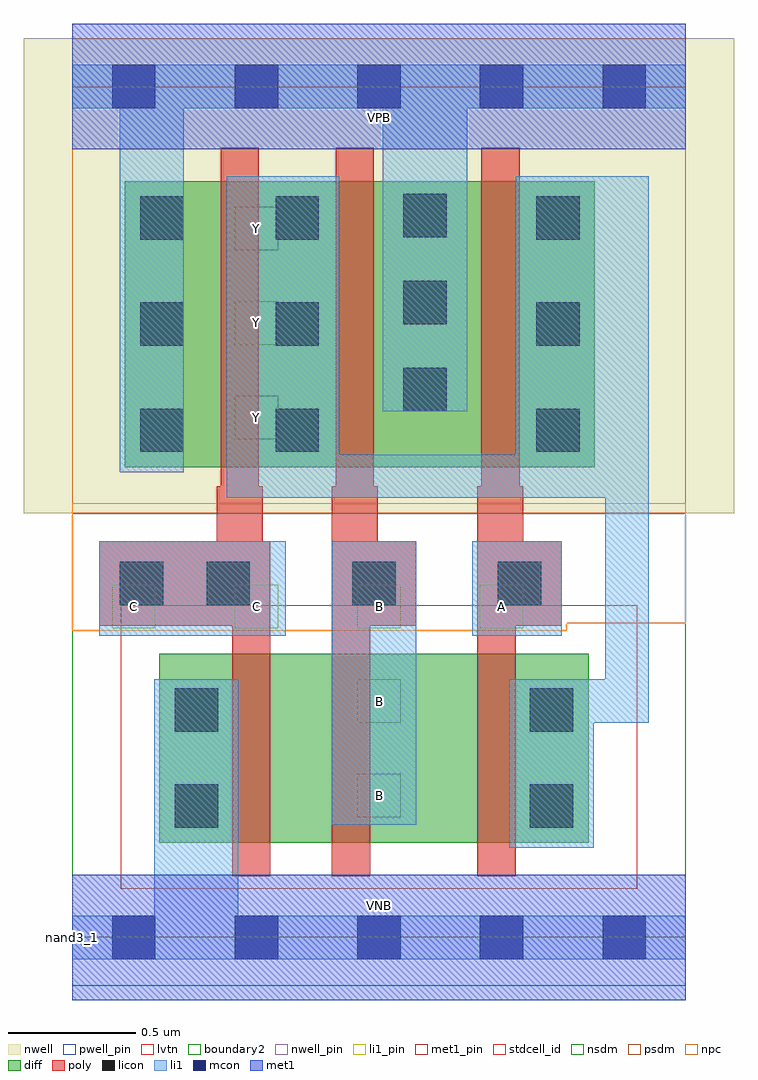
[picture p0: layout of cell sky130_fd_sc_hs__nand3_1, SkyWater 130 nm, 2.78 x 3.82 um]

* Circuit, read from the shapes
.subckt sky130_fd_sc_hs__nand3_1 A B C VGND VNB VPB VPWR Y
XM1 n1 C VGND VNB sky130_fd_pr__nfet_01v8_lvt w=0.74 l=0.15
XM2 n2 B n1 VNB sky130_fd_pr__nfet_01v8_lvt w=0.74 l=0.15
XM3 Y A n2 VNB sky130_fd_pr__nfet_01v8_lvt w=0.74 l=0.15
XM4 Y C VPWR VPB sky130_fd_pr__pfet_01v8 w=1.12 l=0.15
XM5 VPWR B Y VPB sky130_fd_pr__pfet_01v8 w=1.12 l=0.15
XM6 Y A VPWR VPB sky130_fd_pr__pfet_01v8 w=1.12 l=0.15
.ends

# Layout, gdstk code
import gdstk
lib = gdstk.Library(unit=1e-6, precision=1e-09)
def R(c, l, rs):  # rectangles x0, y0, x1, y1
    for r in rs: c.add(gdstk.rectangle(r[:2], r[2:], *l))
def A(c, l, x, y, w, h, nx, ny, dx, dy):  # array of equal rectangles
    R(c, l, [(x+i*dx, y+j*dy, x+i*dx+w, y+j*dy+h) for i in range(nx) for j in range(ny)])
def P(c, l, *ps):  # polygons
    for p in ps: c.add(gdstk.Polygon(p, *l))
nwell_pin = (64, 16)
nwell = (64, 20)
diff = (65, 20)
poly = (66, 20)
licon = (66, 44)
li1_pin = (67, 16)
li1 = (67, 20)
mcon = (67, 44)
met1_pin = (68, 16)
met1 = (68, 20)
stdcell_id = (81, 4)
nsdm = (93, 44)
psdm = (94, 20)
npc = (95, 20)
pwell_pin = (122, 16)
lvtn = (125, 44)
boundary2 = (236, 0)

sky130_fd_sc_hs__nand3_1 = lib.new_cell('sky130_fd_sc_hs__nand3_1')
R(sky130_fd_sc_hs__nand3_1, nwell_pin, [(0,3.085,2.4,3.33)])
R(sky130_fd_sc_hs__nand3_1, nwell, [(-0.19,1.66,2.59,3.52)])
R(sky130_fd_sc_hs__nand3_1, diff, [(0.34,0.37,2.02,1.11), (0.205,1.84,2.045,2.96)])
P(sky130_fd_sc_hs__nand3_1, poly, [(1.915,1.55),(1.765,1.55),(1.765,1.765),(1.75,1.765),(1.75,3.09),(1.6,3.09),(1.6,1.765),(1.585,1.765),(1.585,0.24),(1.735,0.24),(1.735,1.22),(1.915,1.22)],
  [(1.345,1.55),(1.195,1.55),(1.195,1.765),(1.18,1.765),(1.18,3.09),(1.03,3.09),(1.03,1.765),(1.015,1.765),(1.015,0.24),(1.165,0.24),(1.165,1.22),(1.345,1.22)],
  [(0.775,1.55),(0.745,1.55),(0.745,1.765),(0.73,1.765),(0.73,3.09),(0.58,3.09),(0.58,1.765),(0.565,1.765),(0.565,1.55),(0.105,1.55),(0.105,1.22),(0.625,1.22),(0.625,0.24),(0.775,0.24)])
A(sky130_fd_sc_hs__nand3_1, licon, 0.525, 1.3, 0.17, 0.17, 3, 1, 0.57, 0)
A(sky130_fd_sc_hs__nand3_1, licon, 0.265, 1.9, 0.17, 0.17, 1, 3, 0, 0.415)
A(sky130_fd_sc_hs__nand3_1, licon, 0.795, 1.9, 0.17, 0.17, 1, 3, 0, 0.415)
A(sky130_fd_sc_hs__nand3_1, licon, 1.815, 1.9, 0.17, 0.17, 1, 3, 0, 0.415)
A(sky130_fd_sc_hs__nand3_1, licon, 1.295, 2.06, 0.17, 0.17, 1, 3, 0, 0.34)
R(sky130_fd_sc_hs__nand3_1, licon, [(0.4,0.43,0.57,0.6), (1.79,0.43,1.96,0.6), (0.4,0.805,0.57,0.975), (1.79,0.805,1.96,0.975), (0.185,1.3,0.355,1.47)])
A(sky130_fd_sc_hs__nand3_1, li1_pin, 0.155, 1.21, 0.17, 0.17, 4, 1, 0.48, 0)
A(sky130_fd_sc_hs__nand3_1, li1_pin, 0.635, 1.95, 0.17, 0.17, 1, 3, 0, 0.37)
R(sky130_fd_sc_hs__nand3_1, li1_pin, [(1.115,0.47,1.285,0.64), (1.115,0.84,1.285,1.01)])
R(sky130_fd_sc_hs__nand3_1, li1, [(1.015,0.44,1.345,1.55), (0.105,1.18,0.835,1.55), (1.565,1.18,1.915,1.55)])
P(sky130_fd_sc_hs__nand3_1, li1, [(0.185,1.82),(0.185,3.245),(0,3.245),(0,3.415),(2.4,3.415),(2.4,3.245),(1.545,3.245),(1.545,2.06),(1.215,2.06),(1.215,3.245),(0.435,3.245),(0.435,1.82)],
  [(0.32,0.085),(0.32,1.01),(0.65,1.01),(0.65,0.085),(2.4,0.085),(2.4,-0.085),(0,-0.085),(0,0.085)],
  [(1.045,1.89),(1.735,1.89),(1.735,2.98),(2.255,2.98),(2.255,0.84),(2.04,0.84),(2.04,0.35),(1.71,0.35),(1.71,1.01),(2.085,1.01),(2.085,1.72),(0.605,1.72),(0.605,2.98),(1.045,2.98)])
A(sky130_fd_sc_hs__nand3_1, mcon, 0.155, -0.085, 0.17, 0.17, 5, 2, 0.48, 3.33)
R(sky130_fd_sc_hs__nand3_1, met1_pin, [(0,0,2.4,0.245), (0,3.085,2.4,3.33)])
R(sky130_fd_sc_hs__nand3_1, met1, [(0,-0.245,2.4,0.245), (0,3.085,2.4,3.575)])
R(sky130_fd_sc_hs__nand3_1, stdcell_id, [(0,0,2.4,3.33)])
R(sky130_fd_sc_hs__nand3_1, nsdm, [(0,-0.19,2.4,1.66)])
R(sky130_fd_sc_hs__nand3_1, psdm, [(0,1.66,2.4,3.52)])
P(sky130_fd_sc_hs__nand3_1, npc, [(2.4,1.7),(0,1.7),(0,1.2),(1.935,1.2),(1.935,1.23),(2.4,1.23)])
R(sky130_fd_sc_hs__nand3_1, pwell_pin, [(0,0,2.4,0.245)])
R(sky130_fd_sc_hs__nand3_1, lvtn, [(0.19,0.19,2.21,1.3)])
R(sky130_fd_sc_hs__nand3_1, boundary2, [(0,0,2.4,3.33)])
sky130_fd_sc_hs__nand3_1.add(gdstk.Label('nand3_1', (0,0), layer=83, texttype=44))
sky130_fd_sc_hs__nand3_1.add(gdstk.Label('VNB', (1.2,0.123), layer=64, texttype=59))
sky130_fd_sc_hs__nand3_1.add(gdstk.Label('VPB', (1.2,3.208), layer=64, texttype=5))
sky130_fd_sc_hs__nand3_1.add(gdstk.Label('VPWR', (1.2,3.208), layer=68, texttype=5))
sky130_fd_sc_hs__nand3_1.add(gdstk.Label('VGND', (1.2,0.123), layer=68, texttype=5))
sky130_fd_sc_hs__nand3_1.add(gdstk.Label('C', (0.24,1.295), layer=67, texttype=5))
sky130_fd_sc_hs__nand3_1.add(gdstk.Label('C', (0.72,1.295), layer=67, texttype=5))
sky130_fd_sc_hs__nand3_1.add(gdstk.Label('Y', (0.72,2.035), layer=67, texttype=5))
sky130_fd_sc_hs__nand3_1.add(gdstk.Label('Y', (0.72,2.405), layer=67, texttype=5))
sky130_fd_sc_hs__nand3_1.add(gdstk.Label('Y', (0.72,2.775), layer=67, texttype=5))
sky130_fd_sc_hs__nand3_1.add(gdstk.Label('B', (1.2,0.555), layer=67, texttype=5))
sky130_fd_sc_hs__nand3_1.add(gdstk.Label('B', (1.2,0.925), layer=67, texttype=5))
sky130_fd_sc_hs__nand3_1.add(gdstk.Label('B', (1.2,1.295), layer=67, texttype=5))
sky130_fd_sc_hs__nand3_1.add(gdstk.Label('A', (1.68,1.295), layer=67, texttype=5))

lib.write_gds('sky130_fd_sc_hs__nand3_1.gds')
